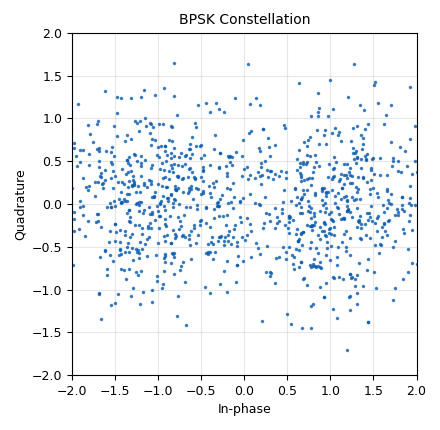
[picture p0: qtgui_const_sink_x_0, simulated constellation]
options:
  parameters:
    author: jithe
    generate_options: qt_gui
    id: bpsk_modulation
    output_language: python
    title: Not titled yet
  states: {}

blocks:
- name: samp_rate
  id: variable
  parameters:
    value: '32000'
  states: {}
- name: analog_const_source_x_0
  id: analog_const_source_x
  parameters:
    const: '0'
    type: float
  states: {}
- name: analog_random_source_x_0
  id: analog_random_source_x
  parameters:
    max: '2'
    min: '0'
    num_samps: '1000'
    repeat: 'True'
    type: byte
  states: {}
- name: blocks_add_const_vxx_0
  id: blocks_add_const_vxx
  parameters:
    const: '-1'
    type: float
  states: {}
- name: blocks_char_to_float_0
  id: blocks_char_to_float
  parameters:
    scale: '1'
  states: {}
- name: blocks_float_to_complex_0
  id: blocks_float_to_complex
  parameters: {}
  states: {}
- name: blocks_multiply_const_vxx_0
  id: blocks_multiply_const_vxx
  parameters:
    const: '2'
    type: float
  states: {}
- name: blocks_throttle2_0
  id: blocks_throttle2
  parameters:
    samples_per_second: samp_rate
    type: complex
  states: {}
- name: channels_channel_model_0
  id: channels_channel_model
  parameters:
    epsilon: '1.0'
    freq_offset: '0.0'
    noise_voltage: '0.8'
    seed: '0'
    taps: '1.0'
  states: {}
- name: qtgui_const_sink_x_0
  id: qtgui_const_sink_x
  parameters:
    name: '"BPSK Constellation"'
    size: '1024'
    type: complex
  states: {}

connections:
- [analog_const_source_x_0, '0', blocks_float_to_complex_0, '1']
- [analog_random_source_x_0, '0', blocks_char_to_float_0, '0']
- [blocks_add_const_vxx_0, '0', blocks_float_to_complex_0, '0']
- [blocks_char_to_float_0, '0', blocks_multiply_const_vxx_0, '0']
- [blocks_float_to_complex_0, '0', blocks_throttle2_0, '0']
- [blocks_multiply_const_vxx_0, '0', blocks_add_const_vxx_0, '0']
- [blocks_throttle2_0, '0', channels_channel_model_0, '0']
- [channels_channel_model_0, '0', qtgui_const_sink_x_0, '0']

metadata:
  file_format: 1
  grc_version: 3.10.12.0
